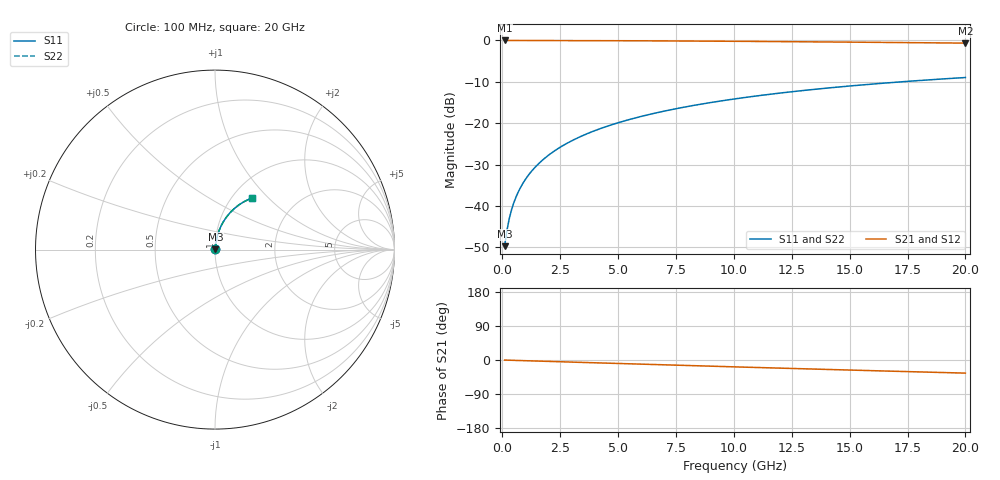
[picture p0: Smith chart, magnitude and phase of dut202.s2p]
! Touchstone file exported from HFSS 2026.1.0
!  File:  C:/ffzhzh/LocalFiles/Ansys_Project_Files/temp_train_BSMRDL_202_1782987742_6248.aedt
!  Generated:  06:23:36 PM Jul  2, 2026
!  Design:  BSMRDL
!  Project:  temp_train_BSMRDL_202_1782987742_6248
! Variables:
!  h_bsmrdl = 2.99um
!  h_ox = 20um
!  h_rdl = 5um
!  h_sub = 80um
!  h_tmrdl = 5um
!  h_tsv = 80um
!  h_via = 3um
!  l_bsmrdl = 452.02um
!  l_sub = 852.02um
!  l_tmrdl = 200um
!  m_sub = 200um
!  pitch = 59.71um
!  r_tsv = 6um
!  s_tmrdl = 10um
!  w_bsmrdl = 25.14um
!  w_sub = 500um
!  w_tmrdl = 12um
!  x_tsv_center1 = 206um
!  x_tsv_center2 = 683.16um
!  x_tsv_center3 = 895.16um
!  x_tsv_center4 = 1372.32um
!  x_tsv_center5 = 1584.32um
!  x_tsv_center6 = 2061.48um
# GHz S MA R 50.000000
! Terminal data exported
! Port[1] = BSM_RDL1_1_T1
! Port[2] = BSM_RDL1_1_T2
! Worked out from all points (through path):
!   200 points, 100 MHz to 20 GHz, reference 50 ohm
!   highest |S21| = -0.02 dB at 100 MHz (marker M1); lowest = -0.7 dB at 20 GHz (marker M2)
!   group delay of S21, straight-line fit = 4.82 ps
!   lowest |S11| = -49.7 dB at 100 MHz (marker M3), VSWR 1.01, Z = 50.2 + j0.222 ohm
!   |S11| at or under -10 dB: start of sweep to 17.27 GHz
!   |S22| runs from -49.7 to -9.0 dB; largest |S21 - S12| = 4.1e-15
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0.1  0.00326 42.6  0.9976 -0.2  0.9976 -0.2  0.00326 42.6
! Gamma 0 0 0 0
! Port Impedance 50 0 50 0
0.2  0.005041 60.0  0.9975 -0.4  0.9975 -0.4  0.005041 60.0
0.3  0.006997 67.5  0.9974 -0.6  0.9974 -0.6  0.006997 67.5
0.4  0.008978 71.6  0.9972 -0.8  0.9972 -0.8  0.008979 71.6
0.5  0.01096 74.2  0.9971 -0.9  0.9971 -0.9  0.01096 74.2
0.6  0.01295 76.0  0.997 -1.1  0.997 -1.1  0.01295 76.0
0.8  0.01693 78.4  0.9969 -1.5  0.9969 -1.5  0.01693 78.4
1.1  0.02293 80.3  0.9967 -2.0  0.9967 -2.0  0.02293 80.3
1.5  0.03098 81.4  0.9964 -2.8  0.9964 -2.8  0.03098 81.4
1.8  0.03703 81.7  0.9961 -3.3  0.9961 -3.3  0.03703 81.7
2.1  0.04308 81.7  0.9958 -3.9  0.9958 -3.9  0.04308 81.7
2.7  0.05518 81.5  0.9951 -5.0  0.9951 -5.0  0.05518 81.5
3.5  0.07124 80.6  0.9938 -6.4  0.9938 -6.4  0.07124 80.6
4.2  0.0852 79.7  0.9925 -7.7  0.9925 -7.7  0.0852 79.7
5  0.101 78.5  0.9908 -9.2  0.9908 -9.2  0.101 78.5
5.9  0.1186 77.1  0.9885 -10.8  0.9885 -10.8  0.1186 77.1
6.8  0.136 75.6  0.986 -12.4  0.986 -12.4  0.136 75.6
8.3  0.1643 73.1  0.9811 -15.1  0.9811 -15.1  0.1643 73.1
10.1  0.1974 70.1  0.9744 -18.2  0.9744 -18.2  0.1974 70.0
13.4  0.2547 64.6  0.9602 -23.9  0.9602 -23.9  0.2547 64.6
16.7  0.3076 59.2  0.9439 -29.4  0.9439 -29.4  0.3076 59.2
20  0.3558 54.1  0.9265 -34.6  0.9265 -34.6  0.3558 54.1
